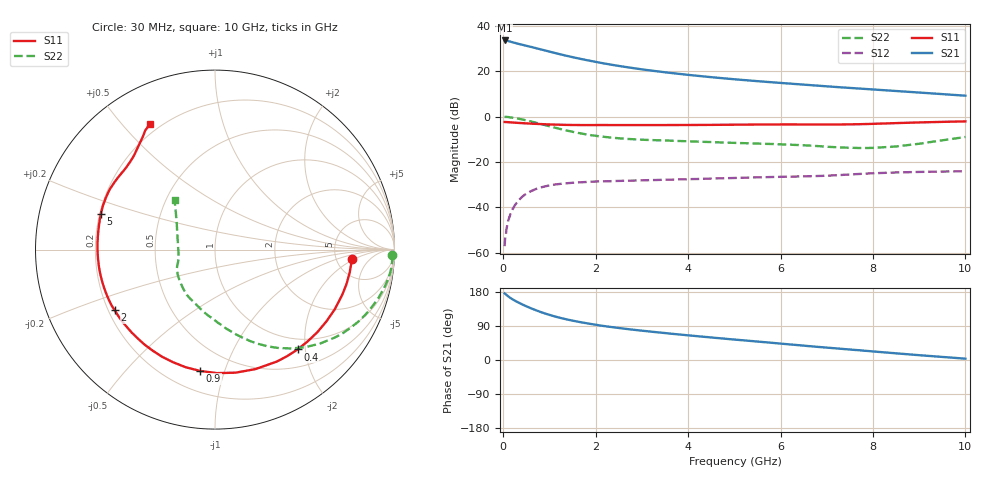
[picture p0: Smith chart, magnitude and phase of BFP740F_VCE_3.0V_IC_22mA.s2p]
! Infineon Technologies  Discrete & RF Semiconductors
! BFP740F
! VCE =  3.0 V,  IC =  22 mA
! Common Emitter S-Parameters:  Oct 2012
# GHz  S  MA  R  50
!  f  S11  S21  S12  S22
! GHz  MAG  ANG  MAG  ANG  MAG  ANG  MAG  ANG
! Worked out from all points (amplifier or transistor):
!   99 points, 30 MHz to 10 GHz, reference 50 ohm
!   highest |S21| = 33.6 dB at 30 MHz (marker M1)
!   |S21| within 3 dB of that: start of sweep to 631.8 MHz
!   unconditionally stable (mu >= 1): 5.775 GHz to end of sweep
!   at 350 MHz: K = 0.15, MSG = 34.3 dB, |S12| = -36.5 dB
!   at 3.5 GHz: K = 0.70, MSG = 23.7 dB, |S12| = -27.8 dB
!   at 10 GHz: K = 1.19, MAG = 14.0 dB, |S12| = -24.1 dB
!   S11 on the Smith chart (normalised r, x): 30 MHz: 6.99, -1.79; 400 MHz: 0.80, -1.85; 900 MHz: 0.33, -0.83; 2 GHz: 0.23, -0.27; 5 GHz: 0.20, +0.15; 10 GHz: 0.16, +0.60
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0.03  0.7636 -4.0  47.87 175.8  0.0014 90.7  0.987 -1.9
0.07  0.7614 -9.6  47.42 171.8  0.0033 87.5  0.9888 -5.6
0.11  0.757 -15.0  46.31 167.8  0.0052 81.1  0.9794 -9.2
0.15  0.7511 -20.4  45.21 164.2  0.0069 79.9  0.9674 -12.4
0.2  0.7454 -26.6  43.66 160.3  0.009 75.7  0.9508 -16.3
0.25  0.7383 -32.9  42.39 156.7  0.0111 75.4  0.9319 -19.9
0.4  0.7219 -50.4  38.73 147.4  0.0168 66.4  0.8717 -30.0
0.6  0.7029 -71.3  34.54 136.5  0.0228 56.9  0.784 -42.0
0.8  0.6883 -89.1  30.66 127.1  0.0274 49.3  0.6962 -52.3
0.9  0.6812 -96.9  28.9 122.9  0.029 46.0  0.6539 -57.0
1.1  0.6695 -110.5  25.64 115.5  0.0318 40.6  0.5782 -65.3
1.3  0.6614 -121.7  22.86 109.2  0.0336 36.6  0.515 -72.5
1.5  0.6559 -131.1  20.51 103.9  0.0349 33.7  0.4643 -78.9
1.7  0.6535 -139.1  18.55 99.2  0.0359 31.2  0.4231 -84.9
2  0.6536 -148.8  16.16 93.1  0.0373 28.6  0.3791 -93.3
2.6  0.6534 -163.1  12.67 83.0  0.0386 25.3  0.3285 -107.2
3.4  0.6539 -176.6  9.801 72.3  0.0405 23.8  0.301 -119.7
5  0.666 162.8  6.682 54.0  0.0446 23.2  0.2648 -137.0
5.1  0.6674 161.8  6.55 52.9  0.0449 23.1  0.2626 -138.3
6.7  0.6733 144.1  4.913 35.8  0.0489 23.3  0.2283 -157.1
8.5  0.7216 125.9  3.682 17.6  0.059 21.1  0.2203 161.5
10  0.7877 117.5  2.903 3.5  0.0626 16.1  0.3571 129.1
